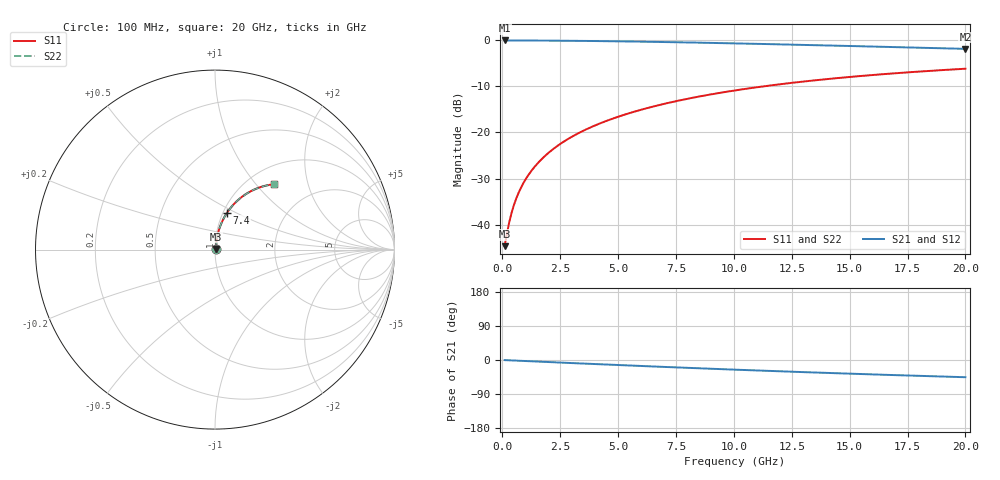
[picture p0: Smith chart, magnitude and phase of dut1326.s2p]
! Touchstone file exported from HFSS 2024.1.0
!  File:  C:/UserFiles/LocalFiles/RDL_TSV_Batchsim/temp_RDL_bottom_1326_1780369186.aedt
!  Generated:  11:02:25 AM Jun  2, 2026
!  Design:  RDL_bottom
!  Project:  temp_RDL_bottom_1326_1780369186
!  Setup:  Setup1
!  Solution:  Sweep
! Variables:
!  dtsv = 10.80580581um
!  hbump = 3um
!  htsv = 97.61um
!  ldown = 596.85um
!  lrdl = 100um
!  p = 40
!  p1 = 48.33um
!  rhole = 1um
!  t = 450um
!  tdown = 3.44um
!  trdl = 3.915915916um
!  wdown = 12.62um
!  wrdl = 20um
# GHz S MA R 50.000000
! Terminal data exported
! Port[1] = RDL1_T1
! Port[2] = RDL1_T2
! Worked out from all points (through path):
!   200 points, 100 MHz to 20 GHz, reference 50 ohm
!   highest |S21| = -0.04 dB at 100 MHz (marker M1); lowest = -1.9 dB at 20 GHz (marker M2)
!   group delay of S21, straight-line fit = 6.32 ps
!   lowest |S11| = -44.7 dB at 100 MHz (marker M3), VSWR 1.01, Z = 50.5 + j0.314 ohm
!   |S11| at or under -10 dB: start of sweep to 11.29 GHz
!   |S22| runs from -44.7 to -6.2 dB; largest |S21 - S12| = 3.1e-15
!   S11 on the Smith chart (normalised r, x): 100 MHz: 1.01, +0.01; 7.4 GHz: 1.04, +0.45; 20 GHz: 1.30, +1.25
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0.1  0.005834 32.2  0.9951 -0.3  0.9951 -0.3  0.005834 32.2
! Gamma 0 0 0 0
! Port Impedance 50 0 50 0
0.2  0.007987 50.9  0.995 -0.6  0.995 -0.6  0.007987 50.9
0.3  0.01061 60.8  0.9948 -0.8  0.9948 -0.8  0.01061 60.8
0.4  0.0134 66.4  0.9947 -1.1  0.9947 -1.1  0.0134 66.4
0.5  0.01625 70.0  0.9945 -1.4  0.9945 -1.4  0.01625 70.0
0.6  0.01913 72.5  0.9943 -1.7  0.9943 -1.7  0.01913 72.5
0.8  0.02493 75.6  0.994 -2.2  0.994 -2.2  0.02493 75.6
1.1  0.03369 78.0  0.9934 -3.0  0.9934 -3.0  0.03369 78.0
1.5  0.04544 79.5  0.9924 -4.1  0.9924 -4.1  0.04544 79.5
1.8  0.05428 80.0  0.9915 -4.9  0.9915 -4.9  0.05428 80.0
2.1  0.06312 80.1  0.9905 -5.7  0.9905 -5.7  0.06312 80.1
2.7  0.08081 79.9  0.988 -7.3  0.988 -7.3  0.08081 79.9
3.5  0.1043 79.0  0.9839 -9.4  0.9839 -9.4  0.1043 79.0
4.2  0.1247 78.0  0.9796 -11.2  0.9796 -11.2  0.1247 78.0
5  0.1479 76.6  0.974 -13.3  0.974 -13.3  0.1479 76.6
6.8  0.1989 73.2  0.9587 -17.8  0.9587 -17.8  0.1988 73.2
7.4  0.2154 72.0  0.953 -19.3  0.953 -19.3  0.2154 72.0
8.7  0.2505 69.4  0.9398 -22.4  0.9398 -22.4  0.2504 69.3
10.1  0.2868 66.5  0.9245 -25.6  0.9245 -25.6  0.2867 66.5
13.4  0.3654 59.9  0.8859 -32.8  0.8859 -32.8  0.3653 59.9
16.7  0.4335 53.7  0.846 -39.4  0.846 -39.4  0.4333 53.7
20  0.491 47.9  0.8068 -45.5  0.8068 -45.5  0.4908 47.9
